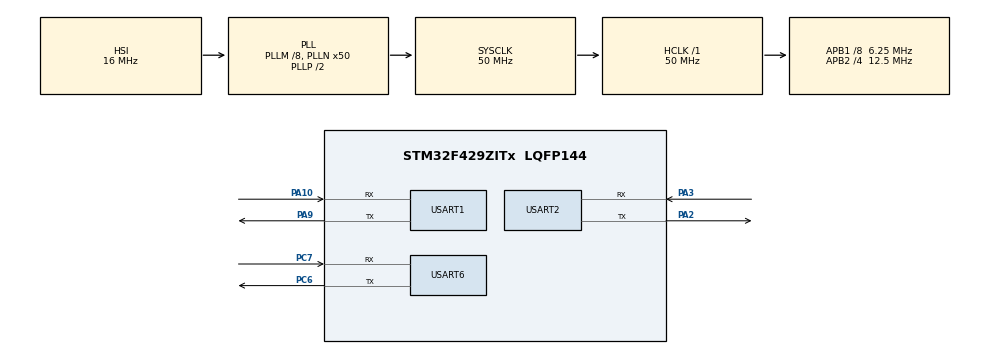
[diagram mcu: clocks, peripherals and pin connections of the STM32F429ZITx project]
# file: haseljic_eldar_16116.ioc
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Mcu.Family=STM32F4
Mcu.Name=STM32F429ZITx
Mcu.Package=LQFP144
NVIC.FPU_IRQn=true\:0\:0\:false\:false\:true\:true\:false
NVIC.PriorityGroup=NVIC_PRIORITYGROUP_4
NVIC.USART1_IRQn=true\:0\:0\:false\:false\:true\:true\:true
NVIC.USART2_IRQn=true\:0\:0\:false\:false\:true\:true\:true
NVIC.USART6_IRQn=true\:0\:0\:false\:false\:true\:true\:true
PA10.Mode=Asynchronous
PA10.Signal=USART1_RX
PA2.Mode=Asynchronous
PA2.Signal=USART2_TX
PA3.Mode=Asynchronous
PA3.Signal=USART2_RX
PA9.Mode=Asynchronous
PA9.Signal=USART1_TX
PC6.Mode=Asynchronous
PC6.Signal=USART6_TX
PC7.Mode=Asynchronous
PC7.Signal=USART6_RX
ProjectManager.HeapSize=0x200
ProjectManager.StackSize=0x400
ProjectManager.TargetToolchain=MDK-ARM V5
RCC.48MHZClocksFreq_Value=14285714.285714285
RCC.AHBFreq_Value=50000000
RCC.APB1CLKDivider=RCC_HCLK_DIV8
RCC.APB1Freq_Value=6250000
RCC.APB1TimFreq_Value=12500000
RCC.APB2CLKDivider=RCC_HCLK_DIV4
RCC.APB2Freq_Value=12500000
RCC.APB2TimCLKDivider=2
RCC.APB2TimFreq_Value=25000000
RCC.CortexFreq_Value=50000000
RCC.HCLKFreq_Value=50000000
RCC.HSE_VALUE=8000000
RCC.HSI_VALUE=16000000
RCC.PLLM=8
RCC.PLLMUL=RCC_PLL_MUL9
RCC.PLLN=50
RCC.PLLQ=7
RCC.PRESCALERUSB=RCC_USBCLKSOURCE_PLL_DIV1_5
RCC.SYSCLKFreq_VALUE=50000000
RCC.SYSCLKSource=RCC_SYSCLKSOURCE_PLLCLK
RCC.SYSCLKSourceVirtual=RCC_SYSCLKSOURCE_PLLCLK
RCC.USBFreq_Value=48000000
RCC.VCOOutputFreq_Value=100000000
USART1.VirtualMode=VM_ASYNC
USART2.VirtualMode=VM_ASYNC
USART6.VirtualMode=VM_ASYNC
board=NUCLEO-F429ZI

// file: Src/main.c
/* USER CODE BEGIN Header */
/**
  ******************************************************************************
  * @file           : main.c
  * @brief          : Main program body
  ******************************************************************************
  * @attention
  *
  * <h2><center>&copy; Copyright (c) 2019 STMicroelectronics.
  * All rights reserved.</center></h2>
  *
  * This software component is licensed by ST under BSD 3-Clause license,
  * the "License"; You may not use this file except in compliance with the
  * License. You may obtain a copy of the License at:
  *                        opensource.org/licenses/BSD-3-Clause
  *
  ******************************************************************************
  */
/* USER CODE END Header */

#include "main.h"

UART_HandleTypeDef huart1;
UART_HandleTypeDef huart2;
UART_HandleTypeDef huart6;

/* USER CODE BEGIN PV */
const uint8_t size = 12;
uint8_t huart1_tx[size];
uint8_t huart2_tx[size];
uint8_t huart3_tx[size];

uint8_t huart1_rx[size];
uint8_t huart2_rx[size];
uint8_t huart3_rx[size];

uint8_t tx1 = 0, tx2 = 0, tx3 = 0;
/* USER CODE END PV */

void SystemClock_Config(void);
static void MX_GPIO_Init(void);
static void MX_USART1_UART_Init(void);
static void MX_USART2_UART_Init(void);
static void MX_USART6_UART_Init(void);

/* USER CODE BEGIN 0 */
void HAL_UART_RxCpltCallback(UART_HandleTypeDef *huart)
{
	if(huart->Instance == USART1)
		{
		// receive complete callback za UART 1

			if(huart1_rx[0]=='2')
				{
				for(int i = 0; i < size; i++)
					huart2_tx[i] = huart1_rx[i];
				tx2 = 1;
				}

				if(huart1_rx[0]=='3')
				{
				for(int i = 0; i < size; i++)
					huart3_tx[i] = huart1_rx[i];
				tx3 = 1;
				}
		}

		if (huart->Instance == USART2)
		{
		// callback za UART 2

			if(huart2_rx[0]=='1')
				{
				for(int i = 0; i < size; i++)
					huart1_tx[i] = huart2_rx[i];
				tx1 = 1;
				}

			if(huart2_rx[0]=='3')
			{
			for(int i = 0; i < size; i++)
				huart3_tx[i] = huart2_rx[i];
			tx3 = 1;
			}
		}

		if (huart->Instance == USART6)
		{

		// callback za UART 6

			if(huart3_rx[0]=='1')
				{
				for(int i = 0; i < size; i++)
					huart1_tx[i] = huart3_rx[i];
				tx1 = 1;
				}

			if(huart3_rx[0]=='2')
				{
				for(int i = 0; i < size; i++)
					huart2_tx[i] = huart3_rx[i];
				tx2 = 1;
				}
		}
};

void HAL_UART_TxCpltCallback(UART_HandleTypeDef *huart)
{
	if(huart->Instance == USART1)
		{
			// transmit complete callback za UART 1
			for(int i = 0; i < size; i++)
			{
				huart1_rx[i] = huart1_tx[i];
				huart1_tx[i] = 0;
			}
			tx1 = 0;
		}

		if (huart->Instance == USART2)
		{
			// transmit complete callback za UART 2
			for(int i = 0; i < size; i++)
			{
				huart2_rx[i] = huart2_tx[i];
				huart2_tx[i] = 0;
			}
			tx2 = 0;
		}

		if (huart->Instance == USART6)
		{
		// transmit complete callback za UART 6

			for(int i = 0; i < size; i++)
			{
				huart3_rx[i] = huart3_tx[i];
				huart3_tx[i] = 0;
			}
			tx3 = 0;
		}
};

/* USER CODE END 0 */

int main(void)
{

  /* MCU Configuration--------------------------------------------------------*/

  /* Reset of all peripherals, Initializes the Flash interface and the Systick. */
  HAL_Init();

  /* Configure the system clock */
  SystemClock_Config();

  /* Initialize all configured peripherals */
  MX_GPIO_Init();
  MX_USART1_UART_Init();
  MX_USART2_UART_Init();
  MX_USART6_UART_Init();
  /* USER CODE BEGIN 2 */
	__HAL_UART_ENABLE_IT(&huart1,UART_IT_RXNE);
	__HAL_UART_ENABLE_IT(&huart2,UART_IT_RXNE);
	__HAL_UART_ENABLE_IT(&huart6,UART_IT_RXNE);
  /* USER CODE END 2 */

	/* Infinite loop */
  while (1)
  {
		if(huart1.RxState != HAL_UART_STATE_BUSY_RX)
			HAL_UART_Receive_IT(&huart1,huart1_rx,sizeof(huart1_rx));
		if(huart2.RxState != HAL_UART_STATE_BUSY_RX)
			HAL_UART_Receive_IT(&huart2,huart2_rx,sizeof(huart2_rx));
		if(huart6.RxState != HAL_UART_STATE_BUSY_RX)
			HAL_UART_Receive_IT(&huart6,huart3_rx,sizeof(huart3_rx));

		if(huart1.gState != HAL_UART_STATE_BUSY_TX && tx1)
			HAL_UART_Transmit_IT(&huart1,huart1_tx,sizeof(huart1_tx));
		if(huart2.gState != HAL_UART_STATE_BUSY_TX && tx2)
			HAL_UART_Transmit_IT(&huart2,huart2_tx,sizeof(huart2_tx));
		if(huart6.gState != HAL_UART_STATE_BUSY_TX && tx3)
			HAL_UART_Transmit_IT(&huart6,huart3_tx,sizeof(huart3_tx));

	//	HAL_Delay(500);
  }
}

void SystemClock_Config(void)
{
  RCC_OscInitTypeDef RCC_OscInitStruct = {0};
  RCC_ClkInitTypeDef RCC_ClkInitStruct = {0};

  /** Configure the main internal regulator output voltage
  */
  __HAL_RCC_PWR_CLK_ENABLE();
  __HAL_PWR_VOLTAGESCALING_CONFIG(PWR_REGULATOR_VOLTAGE_SCALE3);
  /** Initializes the CPU, AHB and APB busses clocks
  */
  RCC_OscInitStruct.OscillatorType = RCC_OSCILLATORTYPE_HSI;
  RCC_OscInitStruct.HSIState = RCC_HSI_ON;
  RCC_OscInitStruct.HSICalibrationValue = RCC_HSICALIBRATION_DEFAULT;
  RCC_OscInitStruct.PLL.PLLState = RCC_PLL_ON;
  RCC_OscInitStruct.PLL.PLLSource = RCC_PLLSOURCE_HSI;
  RCC_OscInitStruct.PLL.PLLM = 8;
  RCC_OscInitStruct.PLL.PLLN = 50;
  RCC_OscInitStruct.PLL.PLLP = RCC_PLLP_DIV2;
  RCC_OscInitStruct.PLL.PLLQ = 7;
  if (HAL_RCC_OscConfig(&RCC_OscInitStruct) != HAL_OK)
  {
    Error_Handler();
  }
  /** Initializes the CPU, AHB and APB busses clocks
  */
  RCC_ClkInitStruct.ClockType = RCC_CLOCKTYPE_HCLK|RCC_CLOCKTYPE_SYSCLK
                              |RCC_CLOCKTYPE_PCLK1|RCC_CLOCKTYPE_PCLK2;
  RCC_ClkInitStruct.SYSCLKSource = RCC_SYSCLKSOURCE_PLLCLK;
  RCC_ClkInitStruct.AHBCLKDivider = RCC_SYSCLK_DIV1;
  RCC_ClkInitStruct.APB1CLKDivider = RCC_HCLK_DIV8;
  RCC_ClkInitStruct.APB2CLKDivider = RCC_HCLK_DIV4;

  if (HAL_RCC_ClockConfig(&RCC_ClkInitStruct, FLASH_LATENCY_1) != HAL_OK)
  {
    Error_Handler();
  }
}

static void MX_USART1_UART_Init(void)
{

  huart1.Instance = USART1;
  huart1.Init.BaudRate = 115200;
  huart1.Init.WordLength = UART_WORDLENGTH_8B;
  huart1.Init.StopBits = UART_STOPBITS_1;
  huart1.Init.Parity = UART_PARITY_NONE;
  huart1.Init.Mode = UART_MODE_TX_RX;
  huart1.Init.HwFlowCtl = UART_HWCONTROL_NONE;
  huart1.Init.OverSampling = UART_OVERSAMPLING_16;
  if (HAL_UART_Init(&huart1) != HAL_OK)
  {
    Error_Handler();
  }

}

static void MX_USART2_UART_Init(void)
{

  huart2.Instance = USART2;
  huart2.Init.BaudRate = 115200;
  huart2.Init.WordLength = UART_WORDLENGTH_8B;
  huart2.Init.StopBits = UART_STOPBITS_1;
  huart2.Init.Parity = UART_PARITY_NONE;
  huart2.Init.Mode = UART_MODE_TX_RX;
  huart2.Init.HwFlowCtl = UART_HWCONTROL_NONE;
  huart2.Init.OverSampling = UART_OVERSAMPLING_16;
  if (HAL_UART_Init(&huart2) != HAL_OK)
  {
    Error_Handler();
  }

}

static void MX_USART6_UART_Init(void)
{

  huart6.Instance = USART6;
  huart6.Init.BaudRate = 115200;
  huart6.Init.WordLength = UART_WORDLENGTH_8B;
  huart6.Init.StopBits = UART_STOPBITS_1;
  huart6.Init.Parity = UART_PARITY_NONE;
  huart6.Init.Mode = UART_MODE_TX_RX;
  huart6.Init.HwFlowCtl = UART_HWCONTROL_NONE;
  huart6.Init.OverSampling = UART_OVERSAMPLING_16;
  if (HAL_UART_Init(&huart6) != HAL_OK)
  {
    Error_Handler();
  }

}

static void MX_GPIO_Init(void)
{

  /* GPIO Ports Clock Enable */
  __HAL_RCC_GPIOA_CLK_ENABLE();
  __HAL_RCC_GPIOC_CLK_ENABLE();

}

void Error_Handler(void)
{
}

/************************ (C) COPYRIGHT STMicroelectronics *****END OF FILE****/
